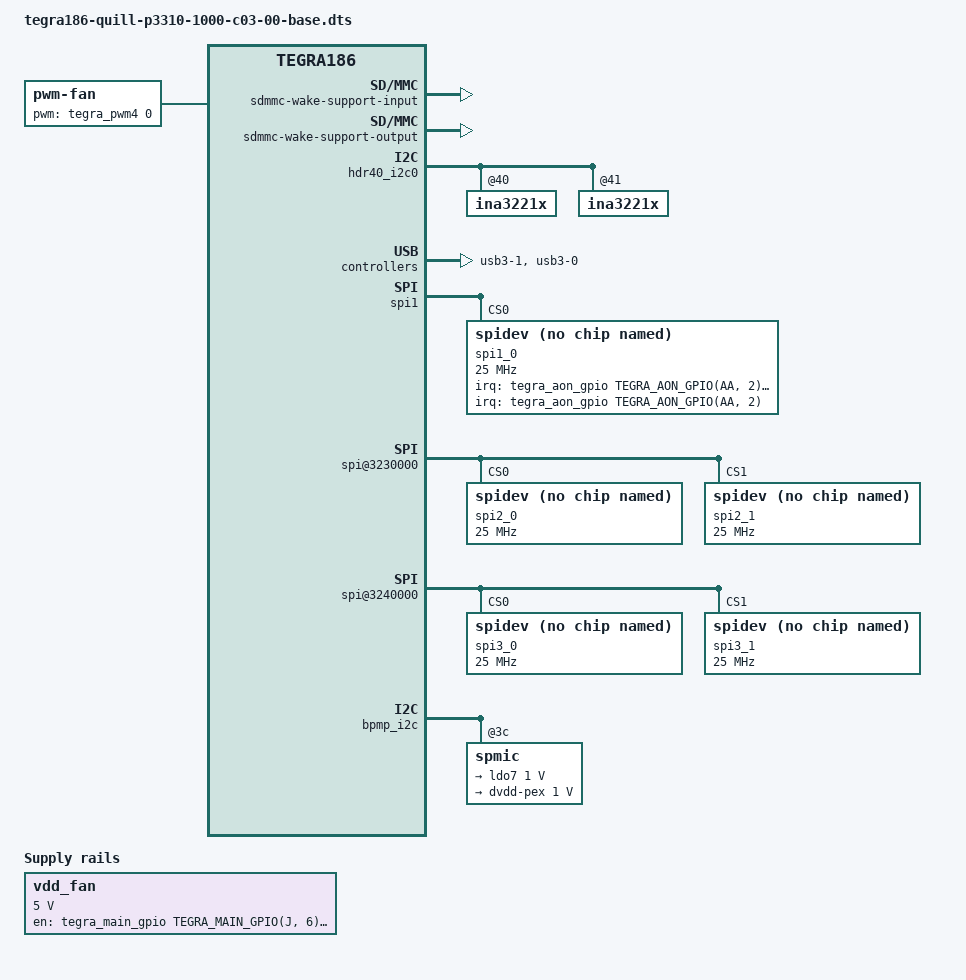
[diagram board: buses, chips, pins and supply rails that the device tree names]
/*
 * tegra186-quill-p3310-c03-00-base.dts Quill C03 Board
 *
 * Copyright (c) 2016-2019, NVIDIA CORPORATION. All rights reserved.
 *
 * This program is free software; you can redistribute it and/or modify
 * it under the terms of the GNU General Public License as published by
 * the Free Software Foundation; version 2 of the License.
 *
 * This program is distributed in the hope that it will be useful, but WITHOUT
 * ANY WARRANTY; without even the implied warranty of MERCHANTABILITY or
 * FITNESS FOR A PARTICULAR PURPOSE.  See the GNU General Public License for
 * more details.
 */

#include "tegra186-quill-p3310-1000-a00-00-base.dts"

/ {
	nvidia,dtsfilename = __FILE__;
	nvidia,dtbbuildtime = __DATE__, __TIME__;
	nvidia,fastboot-usb-vid = <0x0955>;
	nvidia,fastboot-usb-pid = <0xee16>;

	pinmux@2430000 {
		common {
			gpio_edp2_pp5 {
				status = "okay";
			};

			gpio_edp3_pp6 {
				status = "okay";
			};
		};
	};

	gpio@2200000 {
		/* gpio-name for 40-pin header, gpio-name given as COL(10) x ROW(20) */
		gpio-line-names = "",   "",     "",     "",     "",     "",     "",     "",     "",     "",
		"",     "",     "",    "",    "",     "",     "",    "",    "",     "",
		"",     "",     "",     "",     "",     "",     "",     "",     "",     "",
		"",     "",     "",     "",     "",     "",     "",     "",     "",      "",
		"",     "",     "",     "",     "",     "",     "",     "",     "",     "",
		"",    "",    "",     "",     "",     "",     "",     "",     "",     "",
		"",     "",     "",     "",     "",     "",     "",     "",     "GPIO8_ALS_PROX_INT",     "GPIO11_AP_WAKE_BT",
		"",     "",     "I2S0_CLK",     "I2S0_SDOUT",     "I2S0_SDIN",     "I2S0_LRCLK",     "AUDIO_MCLK",    "GPIO20_AUD_INT",    "GPIO1_AUD_RST",   "",
		"",     "",     "",     "",     "",     "",     "",     "",     "",     "",
		"",     "",     "",     "",     "",     "",     "",     "",     "",     "",
		"",     "",     "",     "",     "",     "",     "",     "SPI1_CLK",     "SPI1_MISO",     "SPI1_MOSI",
		"SPI1_CS0",     "",     "",     "",     "",     "",     "",     "",     "",     "",
		"",     "",     "",     "",     "",     "",     "",     "",     "",     "",
		"",     "",     "",     "",     "",     "",     "",     "",     "",     "",
		"",     "",     "",     "",     "",     "",     "UART0_RTS",     "UART0_CTS",     "",     "",
		"",     "",     "",     "",     "",     "",     "",     "",     "",     "",
		"",     "GPIO16_MDM_WAKE_AP",     "",     "",     "",     "",     "",     "",     "",   "",
		"",     "",     "",     "",     "",     "",     "",     "",     "",     "";

		sdmmc-wake-support-input {
			status = "okay";
		};

		sdmmc-wake-support-output {
			status = "okay";
		};
	};

	gpio@c2f0000 {
		/* gpio-name for 40-pin header, gpio-name given as COL(10) x ROW(20) */
		gpio-line-names = "",   "",     "",     "",     "",     "",     "",     "",     "",     "",
		"",     "",     "",    "",    "",     "",     "",    "",    "",     "",
		"",     "",     "",     "",     "",     "",     "",     "",     "",     "",
		"",     "",     "",     "",     "",     "",     "",     "",     "",      "",
		"AO_DMIC_IN_DAT",     "AO_DMIC_IN_CLK",     "GPIO9_MOTION_INT",     "",     "",     "",     "",     "",     "",     "",
		"",    "",    "",     "",     "",     "",     "",     "",     "",     "";
	};

	fixed-regulators {
		regulator@1 {
			gpio = <&tegra_main_gpio TEGRA_MAIN_GPIO(P, 6) 0>;
                };
	};

	sdhci@3400000 {
		cd-gpios = <&tegra_main_gpio TEGRA_MAIN_GPIO(P, 5) 0>;
		nvidia,cd-wakeup-capable;
	};

	hdr40_i2c0: i2c@3160000 {
		ina3221x@40 {
			channel@0 {
				ti,shunt-resistor-mohm = <10>;
			};
			channel@1 {
				ti,shunt-resistor-mohm = <10>;
			};
		};
		ina3221x@41 {
			channel@0 {
				ti,shunt-resistor-mohm = <20>;
			};
			channel@1 {
				ti,shunt-resistor-mohm = <10>;
			};
			channel@2 {
				ti,rail-name = "VDD_SYS_DDR";
				ti,shunt-resistor-mohm = <10>;
			};
		};
	};

	hdr40_i2c1: i2c@c240000 {
		bmi160@69 {
			compatible = "bmi,bmi160";
			reg = <0x69>;
			interrupt-parent = <&tegra_aon_gpio>;
			interrupts = <TEGRA_AON_GPIO(AA, 2) 0x01>;
			accelerometer_matrix    = [01 00 00 00 01 00 00 00 01];
			gyroscope_matrix        = [01 00 00 00 01 00 00 00 01];
			accelerometer_delay_us_min = <1250>;
			gyroscope_delay_us_min = <1250>;
			vdd-supply = <&spmic_sd3>;
			vdd_IO-supply = <&spmic_sd3>;
			status = "disabled";
		};
	};

	mttcan@c310000 {
		status = "okay";
		gpio_can_stb = <&tegra_aon_gpio TEGRA_AON_GPIO(AA, 0) GPIO_ACTIVE_HIGH>;
		gpio_can_en = <&tegra_aon_gpio TEGRA_AON_GPIO(AA, 1) GPIO_ACTIVE_HIGH>;
	};

	mttcan@c320000 {
		status = "okay";
		gpio_can_stb = <&tegra_aon_gpio TEGRA_AON_GPIO(AA, 6) GPIO_ACTIVE_HIGH>;
		gpio_can_en = <&tegra_aon_gpio TEGRA_AON_GPIO(AA, 7) GPIO_ACTIVE_HIGH>;
	};

	ahci-sata@3507000 {
		gpios = <&spmic 7 0>;
	};

	pcie-controller@10003000 {
		pci@1,0 {
			nvidia,num-lanes = <2>;
			nvidia,disable-clock-request;
		};
		pci@2,0 {
			nvidia,num-lanes = <1>;
		};
		pci@3,0 {
			nvidia,num-lanes = <1>;
		};
	};

        xhci@3530000 {
		phys = <&{/xusb_padctl@3520000/pads/usb2/lanes/usb2-0}>,
			<&{/xusb_padctl@3520000/pads/usb2/lanes/usb2-1}>,
			<&{/xusb_padctl@3520000/pads/usb2/lanes/usb2-2}>,
			<&{/xusb_padctl@3520000/pads/usb3/lanes/usb3-0}>,
			<&{/xusb_padctl@3520000/pads/usb3/lanes/usb3-1}>;
		phy-names = "usb2-0", "usb2-1", "usb2-2", "usb3-0", "usb3-1";
		nvidia,boost_cpu_freq = <1200>;
	};

	xusb_padctl@3520000 {
		ports {
			usb3-1 {
				status = "okay";
			};
			usb3-0 {
				nvidia,usb2-companion = <1>;
				status = "okay";
			};
		};
	};

	/delete-node/ spi@c260000;
	spi1: spi@c260000 {					//new for spi on tx2 and auvidea board(fd)
		status="okay";
		compatible = "nvidia,tegra186-spi";
		reg = <0x0 0x0c260000 0x0 0x10000>;
		interrupts = <0 37 0x04>;
		#address-cells = <1>;
		#size-cells = <0>;
		iommus = <&smmu TEGRA_SID_GPCDMA_0>;
		dmas = <&gpcdma 16>, <&gpcdma 16>;
		dma-names = "rx", "tx";
		nvidia,clk-parents = "pll_p", "osc";
		spi-max-frequency = <25000000>;
		clocks = <&tegra_car TEGRA186_CLK_SPI2>,
			<&tegra_car TEGRA186_CLK_PLLP_OUT0>,
			<&tegra_car TEGRA186_CLK_OSC>;
		clock-names = "spi", "pll_p", "osc";
		resets = <&tegra_car TEGRA186_RESET_SPI2>;
		reset-names = "spi";
			
		spi1_0 {
			status = "okay";
			#address-cells = <0x1>;
			#size-cells = <0x0>;
			compatible = "spidev";
			reg = <0>;
			spi-max-frequency = <25000000>;
			nvidia,enable-hw-based-cs;
			nvidia,cs-setup-clk-count = <0x1e>;
			nvidia,cs-hold-clk-count = <0x1e>;
			nvidia,rx-clk-tap-delay = <0x1f>;
			nvidia,tx-clk-tap-delay = <0x0>;			

			irq-gpio = <&tegra_aon_gpio TEGRA_AON_GPIO(AA, 2) 0x01>;
			interrupt-parent = <&tegra_aon_gpio>;
			interrupts = <TEGRA_AON_GPIO(AA, 2) 0x01>; // GPIO_PAA2
		};
	};

	spi@3230000 {			//new(fd)
		status="okay";
		spi2_0 {
			compatible = "spidev";
			status = "okay";
			reg = <0>;
			spi-max-frequency = <25000000>;			
		};
		spi2_1 {
			compatible = "spidev";
			status = "okay";
			reg = <1>;
			spi-max-frequency = <25000000>;			
		};
	};


	spi@3240000 {			//new(fd)
		status="okay";
		spi3_0 {
			compatible = "spidev";
			status = "okay";
			reg = <0>;
			spi-max-frequency = <25000000>;			
		};
		spi3_1 {
			compatible = "spidev";
			status = "okay";
			reg = <1>;
			spi-max-frequency = <25000000>;			
		};
	};


	fixed-regulators {					//added for fan control on auvidea boards(fd)
		/delete-node/ regulator@13;
		vdd_fan: regulator@13 {
			compatible = "regulator-fixed-sync";
			reg = <13>;
			regulator-name = "vdd-fan";
			regulator-min-microvolt = <5000000>;
			regulator-max-microvolt = <5000000>;
			gpio = <&tegra_main_gpio TEGRA_MAIN_GPIO(J, 6) GPIO_ACTIVE_LOW>;  
		};
	};


	/delete-node/ pfsd;
	pwm_fan_shared_data: pfsd {
		status = "okay";
		num_resources = <0>;
		secret = <47>;
		active_steps = <10>;
		active_rpm = <0 1000 2000 3000 4000 5000 6000 7000 10000 11000>;
		rpm_diff_tolerance = <2>;
		active_rru = <40 2 1 1 1 1 1 1 1 1>;
		active_rrd = <40 2 1 1 1 1 1 1 1 1>;
		state_cap_lookup = <2 2 2 2 3 3 3 4 4 4>;
		pwm_period = <45334>;
		pwm_id = <3>;
		step_time = <100>; // mesecs
		state_cap = <7>;
		active_pwm_max = <256>;
		tach_period = <1000>;
		pwm_gpio = <&tegra_aon_gpio TEGRA_AON_GPIO(V, 6) GPIO_ACTIVE_LOW>; // TEGRA_MAIN_GPIO_PV6 
		//pwm_gpio = <&tegra_main_gpio TEGRA_MAIN_GPIO(J, 6) GPIO_ACTIVE_LOW>; // TEGRA_MAIN_GPIO_PJ6 
	};
	/delete-node/ pwm-fan;
	pwm-fan {
		status = "okay";
		compatible = "pwm-fan";
		#pwm-cells = <1>;
		pwms = <&tegra_pwm4 0 45334>;
		shared_data = <&pwm_fan_shared_data>;
		active_pwm = <0 80 120 160 255 255 255 255 255 255>;
	};

       bluedroid_pm {
		bluedroid_pm,reset-gpio = <&tegra_main_gpio TEGRA_MAIN_GPIO(H, 5) 0>;
        };

	bpmp_i2c {
		spmic@3c {
			pinmux@0 {
				pin_gpio2 {
					status = "disabled";
				};
				pin_gpio3 {
					status = "disabled";
				};
				pin_gpio7 {
					drive-push-pull = <1>;
				};
			};

			regulators {
				ldo0 {
					maxim,active-fps-source = <MAX77620_FPS_SRC_NONE>;
				};

				ldo6 {
					maxim,active-fps-source = <MAX77620_FPS_SRC_NONE>;
					regulator-boot-on;
					regulator-always-on;
				};

				ldo7 {
					regulator-min-microvolt = <1000000>;
					regulator-max-microvolt = <1000000>;
				};

				ldo8 {
					regulator-name = "dvdd-pex";
					regulator-min-microvolt = <1000000>;
					regulator-max-microvolt = <1000000>;
				};
			};
		};
	};

	sound {
		hdr40_snd_link_i2s: nvidia,dai-link-1 { };
	};
};
